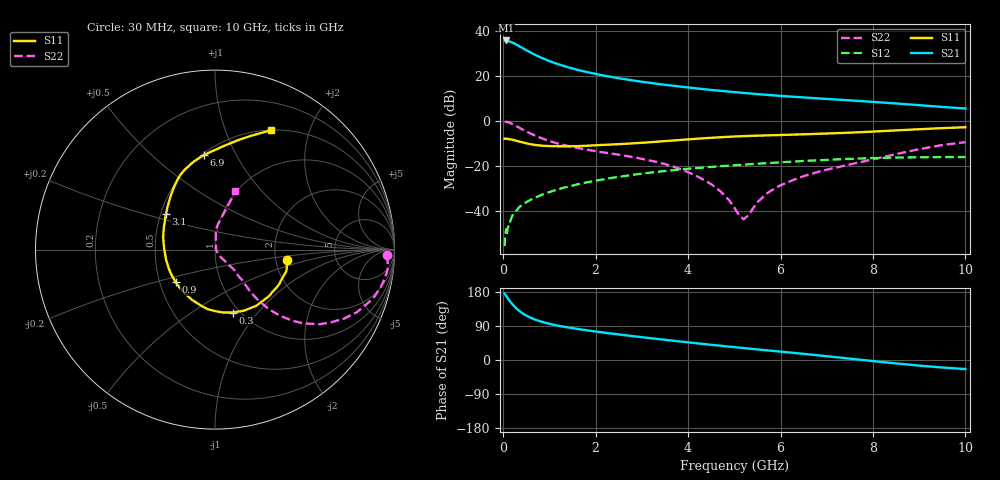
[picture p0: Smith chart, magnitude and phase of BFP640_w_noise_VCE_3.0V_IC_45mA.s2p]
! (c) 2013  Infineon Technologies AG, Munich
! Infineon Technologies  Discrete & RF Semiconductors
! BFP640
! VCE =  3.0 V,  IC =  45 mA
! Common Emitter S-Parameters:  Apr 2013
# GHz  S  MA  R  50
!  f  S11  S21  S12  S22
! GHz  MAG  ANG  MAG  ANG  MAG  ANG  MAG  ANG
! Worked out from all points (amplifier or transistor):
!   99 points, 30 MHz to 10 GHz, reference 50 ohm
!   highest |S21| = 35.8 dB at 60 MHz (marker M1)
!   |S21| within 3 dB of that: start of sweep to 386.5 MHz
!   unconditionally stable (mu >= 1): 1.725 GHz to end of sweep
!   at 350 MHz: K = 0.47, MSG = 35.6 dB, |S12| = -38.0 dB
!   at 3.5 GHz: K = 1.06, MAG = 17.6 dB, |S12| = -22.1 dB
!   at 10 GHz: K = 1.06, MAG = 9.2 dB, |S12| = -15.9 dB
!   lowest NFmin = 1.34 dB at 450 MHz
!   S11 on the Smith chart (normalised r, x): 30 MHz: 2.32, -0.33; 300 MHz: 0.93, -0.75; 900 MHz: 0.60, -0.24; 3.1 GHz: 0.53, +0.24; 6.9 GHz: 0.51, +0.75; 10 GHz: 0.50, +1.45
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0.03  0.4073 -8.3  60.76 174.8  0.0017 64.5  0.9605 -1.9
0.06  0.415 -16.8  61.57 169.6  0.004 91.7  0.9676 -6.5
0.08  0.4078 -22.4  61.13 166.1  0.0029 89.3  0.96 -9.1
0.12  0.4002 -34.0  59.13 159.3  0.0055 79.5  0.9354 -14.6
0.2  0.3885 -53.6  55.15 147.0  0.0082 74.7  0.8642 -23.8
0.25  0.3768 -64.3  52.2 140.3  0.0098 74.3  0.8145 -28.2
0.3  0.365 -73.8  48.95 134.4  0.0108 71.6  0.7627 -32.1
0.35  0.3533 -82.8  45.55 129.1  0.0126 70.0  0.716 -35.5
0.45  0.3341 -97.1  39.94 120.5  0.0149 69.0  0.6326 -40.3
0.6  0.308 -114.6  32.97 111.1  0.0183 65.9  0.5281 -45.0
0.7  0.2965 -124.8  29.17 106.2  0.0205 66.0  0.4756 -46.9
0.9  0.2839 -140.8  23.63 98.6  0.0249 65.1  0.3948 -49.0
1.2  0.278 -159.4  18.17 90.3  0.0312 63.6  0.3167 -49.9
1.7  0.283 179.1  13.06 80.2  0.0417 61.2  0.245 -48.7
2.3  0.3027 161.7  9.734 70.4  0.0543 57.1  0.194 -48.2
3.1  0.3376 143.8  7.252 58.8  0.0708 50.7  0.1398 -46.8
3.4  0.3566 137.9  6.6 54.6  0.0767 48.0  0.1187 -48.0
5.1  0.4617 114.1  4.325 32.7  0.1073 32.8  0.0083 -22.8
6.7  0.5209 99.0  3.262 13.7  0.1344 18.5  0.0697 86.1
6.9  0.5296 96.7  3.162 11.2  0.1374 16.6  0.0796 86.3
8.5  0.6251 77.8  2.471 -9.1  0.1562 0.3  0.186 78.2
10  0.7346 64.8  1.914 -23.9  0.1609 -11.8  0.3434 71.5
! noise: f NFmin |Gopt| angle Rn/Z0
0.45  1.34  0.29  -171  0.08
0.9  1.35  0.32  -158  0.09
1.5  1.36  0.35  -145  0.12
1.9  1.39  0.36  222  0.14
2.4  1.47  0.38  -126  0.16
3.5  1.6  0.42  -109  0.2
5.5  1.85  0.45  -92  0.34
10  2.45  0.65  -47  0.99
